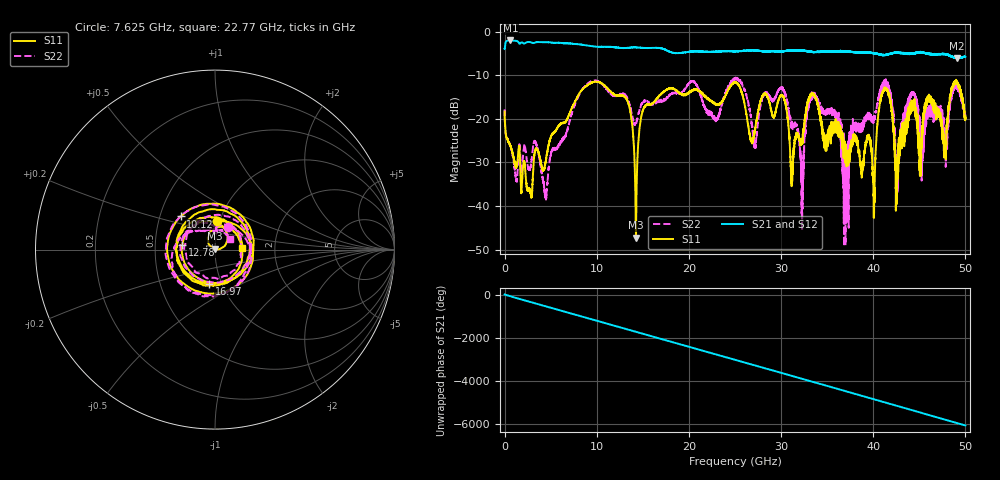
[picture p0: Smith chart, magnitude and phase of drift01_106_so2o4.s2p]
!Created with skrf (http://scikit-rf.org).
# Hz S RI R 50.0
!freq ReS11 ImS11 ReS21 ImS21 ReS12 ImS12 ReS22 ImS22
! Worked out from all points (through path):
!   10001 points, 300 kHz to 50 GHz, reference 50 ohm
!   highest |S21| = -2.00 dB at 625.3 MHz (marker M1); lowest = -6.0 dB at 49.05 GHz (marker M2)
!   group delay of S21, straight-line fit = 336 ps
!   lowest |S11| = -47.3 dB at 14.26 GHz (marker M3), VSWR 1.01, Z = 50 + j0.432 ohm
!   |S11| at or under -10 dB: start of sweep to end of sweep
!   |S22| runs from -49.2 to -10.5 dB; largest |S21 - S12| = 0.022
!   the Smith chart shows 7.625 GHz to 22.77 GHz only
!   S11 on the Smith chart (normalised r, x): 7.625 GHz: 0.97, +0.31; 10.12 GHz: 0.64, +0.25; 12.78 GHz: 0.69, +0.04; 16.97 GHz: 0.88, -0.35; 22.77 GHz: 1.35, +0.03
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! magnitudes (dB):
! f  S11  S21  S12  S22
! 300 kHz  -18.3  -4.0  -4.0  -17.8
! 625.3 MHz  -26.1  -2.0  -2.0  -26.1
! 4.44 GHz  -30.0  -2.4  -2.4  -37.8
! 7.625 GHz  -16.1  -2.8  -2.8  -16.8
! 8.335 GHz  -13.5  -3.0  -3.0  -13.5
! 10.12 GHz  -11.5  -3.5  -3.4  -11.4
! 12.78 GHz  -14.7  -3.8  -3.8  -14.3
! 14.26 GHz  -47.3  -3.6  -3.6  -21.1
! 16.67 GHz  -14.9  -3.7  -3.7  -15.8
! 16.97 GHz  -14.3  -3.8  -3.8  -15.6
! 22.77 GHz  -16.5  -4.6  -4.6  -20.0
! 25 GHz  -11.6  -4.5  -4.5  -10.9
! 27.15 GHz  -22.5  -4.2  -4.3  -26.0
! 30.22 GHz  -14.9  -4.5  -4.5  -13.3
! 32.26 GHz  -25.4  -4.3  -4.4  -42.3
! 33.34 GHz  -14.2  -4.6  -4.6  -14.6
! 37.03 GHz  -26.6  -4.5  -4.5  -43.0
! 40.06 GHz  -40.8  -4.9  -4.9  -20.3
! 41.67 GHz  -14.1  -5.1  -5.1  -12.6
! 42.59 GHz  -30.7  -4.8  -4.8  -30.8
! 49.05 GHz  -11.8  -6.0  -6.0  -12.6
! 50 GHz  -19.4  -5.8  -5.8  -19.8
